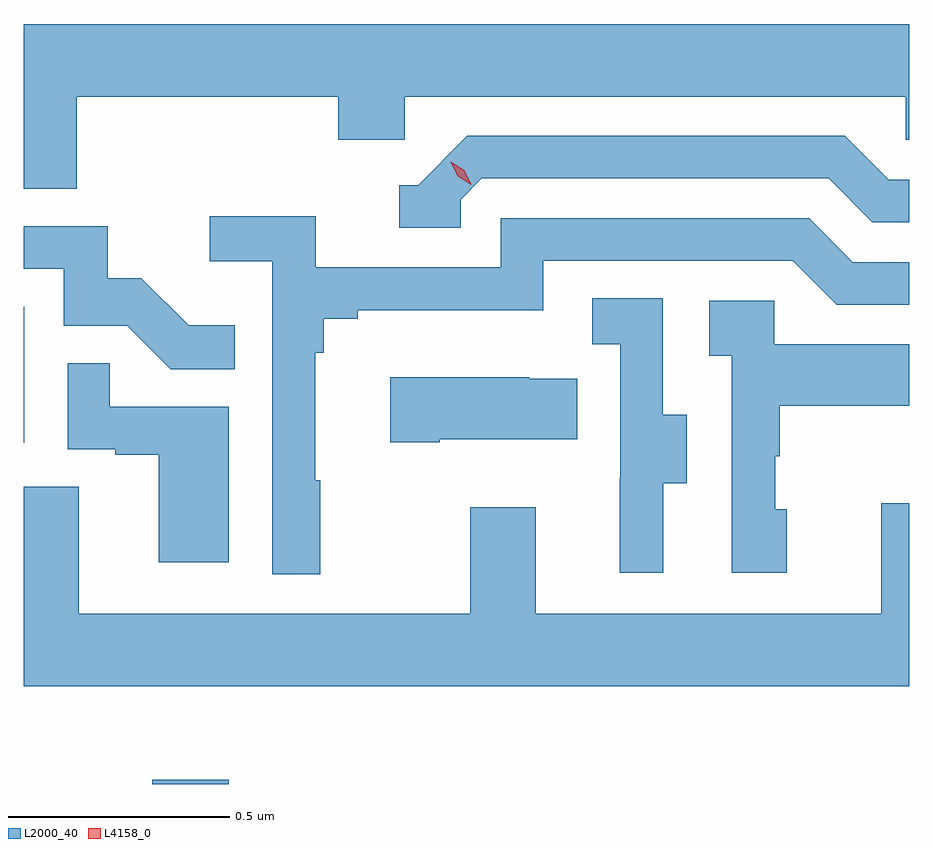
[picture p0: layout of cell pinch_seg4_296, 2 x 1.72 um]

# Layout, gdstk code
import gdstk
lib = gdstk.Library(unit=1e-6, precision=1e-09)
def R(c, l, rs):  # rectangles x0, y0, x1, y1
    for r in rs: c.add(gdstk.rectangle(r[:2], r[2:], *l))
def P(c, l, *ps):  # polygons
    for p in ps: c.add(gdstk.Polygon(p, *l))
L2000_40 = (2000, 40)
L4158_0 = (4158, 0)

pinch_seg4_296 = lib.new_cell('pinch_seg4_296')
R(pinch_seg4_296, L2000_40, [(938.777,808.587,938.95,808.597), (938.487,809.358,938.488,809.665)])
P(pinch_seg4_296, L2000_40, [(938.606,810.14),(939.197,810.14),(939.197,810.042),(939.348,810.042),(939.348,810.14),(940.479,810.14),(940.479,810.042),(940.487,810.042),(940.487,810.304),(938.487,810.304),(938.487,809.932),(938.606,809.932)],
  [(939.474,809.907),(939.522,809.955),(940.305,809.955),(940.404,809.856),(940.487,809.856),(940.487,809.952),(940.441,809.952),(940.342,810.051),(939.489,810.051),(939.378,809.94),(939.335,809.94),(939.335,809.844),(939.474,809.844)],
  [(939.157,809.273),(939.145,809.273),(939.145,809.561),(939.164,809.561),(939.164,809.638),(939.241,809.638),(939.241,809.657),(939.66,809.657),(939.66,809.769),(940.224,809.769),(940.323,809.67),(940.487,809.67),(940.487,809.766),(940.36,809.766),(940.261,809.865),(939.564,809.865),(939.564,809.754),(939.146,809.754),(939.146,809.87),(938.907,809.87),(938.907,809.768),(939.048,809.768),(939.048,809.061),(939.157,809.061)],
  [(938.963,809.623),(938.859,809.623),(938.752,809.73),(938.676,809.73),(938.676,809.847),(938.487,809.847),(938.487,809.751),(938.577,809.751),(938.577,809.622),(938.721,809.622),(938.819,809.524),(938.963,809.524)],
  [(939.931,809.266),(939.985,809.266),(939.985,809.421),(939.93,809.421),(939.93,809.684),(939.771,809.684),(939.771,809.581),(939.834,809.581),(939.834,809.277),(939.833,809.277),(939.833,809.064),(939.931,809.064)],
  [(940.21,809.208),(940.185,809.208),(940.185,809.327),(940.195,809.327),(940.195,809.441),(940.487,809.441),(940.487,809.581),(940.182,809.581),(940.182,809.679),(940.035,809.679),(940.035,809.555),(940.086,809.555),(940.086,809.064),(940.21,809.064)],
  [(938.95,809.439),(938.681,809.439),(938.681,809.537),(938.586,809.537),(938.586,809.343),(938.693,809.343),(938.693,809.331),(938.792,809.331),(938.792,809.088),(938.95,809.088)],
  [(939.427,809.366),(939.737,809.366),(939.737,809.503),(939.629,809.503),(939.629,809.506),(939.315,809.506),(939.315,809.359),(939.427,809.359)],
  [(940.487,809.221),(940.424,809.221),(940.424,808.972),(939.643,808.972),(939.643,809.212),(939.496,809.212),(939.496,808.972),(938.611,808.972),(938.611,809.258),(938.487,809.258),(938.487,808.808),(940.487,808.808)])
P(pinch_seg4_296, L4158_0, [(939.498,809.941),(939.467,809.96),(939.451,809.993),(939.451,809.993),(939.451,809.993),(939.482,809.974),(939.498,809.941),(939.498,809.941)])

lib.write_gds('pinch_seg4_296.gds')
